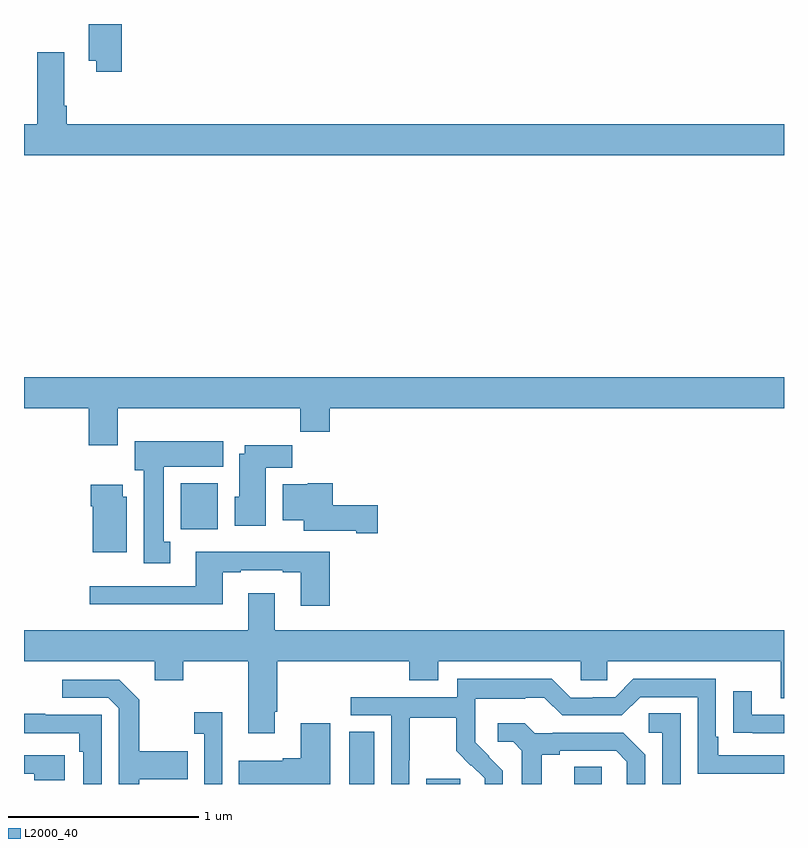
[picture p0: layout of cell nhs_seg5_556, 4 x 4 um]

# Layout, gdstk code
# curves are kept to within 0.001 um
import gdstk
lib = gdstk.Library(unit=1e-6, precision=1e-09)
def R(c, l, rs):  # rectangles x0, y0, x1, y1
    for r in rs: c.add(gdstk.rectangle(r[:2], r[2:], *l))
def P(c, l, *ps):  # polygons
    for p in ps: c.add(gdstk.Polygon(p, *l))
L2000_40 = (2000, 40)

nhs_seg5_556 = lib.new_cell('nhs_seg5_556')
R(nhs_seg5_556, L2000_40, [(148.712,838.799,148.843,839.075), (149.117,838.799,149.296,838.827), (149.897,838.799,150.042,838.889), (147.824,840.14,148.021,840.382)])
P(nhs_seg5_556, L2000_40, [(147.515,842.799),(147.34,842.799),(147.34,842.606),(147.38,842.606),(147.38,842.547),(147.515,842.547)],
  [(151,842.272),(147.224,842.272),(147.224,842.368),(147.211,842.368),(147.211,842.65),(147.071,842.65),(147.071,842.272),(147,842.272),(147,842.108),(151,842.108)],
  [(147.493,840.776),(148.453,840.776),(148.453,840.652),(148.61,840.652),(148.61,840.776),(151,840.776),(151,840.94),(147,840.94),(147,840.776),(147.341,840.776),(147.341,840.582),(147.493,840.582)],
  [(147.769,840.074),(147.736,840.074),(147.736,840.47),(148.048,840.47),(148.048,840.604),(147.584,840.604),(147.584,840.45),(147.629,840.45),(147.629,839.961),(147.769,839.961)],
  [(148.273,840.464),(148.412,840.464),(148.412,840.583),(148.163,840.583),(148.163,840.538),(148.133,840.538),(148.133,840.312),(148.109,840.312),(148.109,840.158),(148.273,840.158)],
  [(148.861,840.266),(148.625,840.266),(148.625,840.382),(148.494,840.382),(148.494,840.376),(148.361,840.376),(148.361,840.188),(148.472,840.188),(148.472,840.131),(148.748,840.131),(148.748,840.119),(148.861,840.119)],
  [(147.541,840.312),(147.52,840.312),(147.52,840.373),(147.35,840.373),(147.35,840.26),(147.362,840.26),(147.362,840.02),(147.541,840.02)],
  [(148.61,840.022),(147.905,840.022),(147.905,839.841),(147.345,839.841),(147.345,839.744),(148.045,839.744),(148.045,839.913),(148.141,839.913),(148.141,839.925),(148.361,839.925),(148.361,839.913),(148.457,839.913),(148.457,839.736),(148.61,839.736)],
  [(148.321,839.803),(148.181,839.803),(148.181,839.608),(147,839.608),(147,839.444),(147.689,839.444),(147.689,839.345),(147.837,839.345),(147.837,839.444),(148.181,839.444),(148.181,839.067),(148.321,839.067),(148.321,839.179),(148.334,839.179),(148.334,839.444),(149.027,839.444),(149.027,839.345),(149.179,839.345),(149.179,839.444),(149.931,839.444),(149.931,839.346),(150.069,839.346),(150.069,839.444),(150.983,839.444),(150.983,839.25),(151,839.25),(151,839.608),(148.321,839.608)],
  [(149.028,838.924),(149.031,838.924),(149.031,839.148),(149.275,839.148),(149.275,838.973),(149.352,838.896),(149.355,838.899),(149.426,838.829),(149.426,838.799),(149.52,838.799),(149.52,838.87),(149.374,839.018),(149.374,839.115),(149.376,839.115),(149.376,839.249),(149.639,839.249),(149.639,839.253),(149.739,839.253),(149.832,839.16),(150.147,839.16),(150.243,839.256),(150.546,839.256),(150.546,838.854),(151,838.854),(151,838.95),(150.655,838.95),(150.655,839.047),(150.642,839.047),(150.642,839.352),(150.207,839.352),(150.111,839.256),(149.993,839.256),(149.993,839.253),(149.877,839.253),(149.777,839.353),(149.28,839.353),(149.28,839.256),(148.719,839.256),(148.719,839.16),(148.932,839.16),(148.932,838.799),(149.028,838.799)],
  [(147.607,838.823),(147.863,838.823),(147.863,838.971),(147.607,838.971),(147.607,839.243),(147.501,839.349),(147.201,839.349),(147.201,839.253),(147.444,839.253),(147.498,839.199),(147.498,838.799),(147.607,838.799)],
  [(151,839.163),(150.829,839.163),(150.829,839.287),(150.733,839.287),(150.733,839.068),(150.835,839.068),(150.835,839.067),(151,839.067)],
  [(148.044,839.176),(147.897,839.176),(147.897,839.063),(147.948,839.063),(147.948,838.799),(148.044,838.799)],
  [(150.456,839.171),(150.288,839.171),(150.288,839.07),(150.36,839.07),(150.36,838.799),(150.456,838.799)],
  [(147.408,839.163),(147.113,839.163),(147.113,839.168),(147.001,839.168),(147.001,839.163),(147,839.163),(147,839.067),(147.292,839.067),(147.292,838.97),(147.312,838.97),(147.312,838.799),(147.408,838.799)],
  [(148.612,839.119),(148.457,839.119),(148.457,838.934),(148.361,838.934),(148.361,838.921),(148.131,838.921),(148.131,838.799),(148.612,838.799)],
  [(149.725,838.952),(149.821,838.952),(149.821,838.974),(150.116,838.974),(150.173,838.917),(150.173,838.799),(150.27,838.799),(150.27,838.954),(150.154,839.07),(149.782,839.07),(149.782,839.067),(149.688,839.067),(149.636,839.119),(149.493,839.119),(149.493,839.022),(149.574,839.022),(149.621,838.975),(149.621,838.799),(149.725,838.799)],
  [(147.214,838.95),(147,838.95),(147,838.854),(147.053,838.854),(147.053,838.82),(147.214,838.82)])

lib.write_gds('nhs_seg5_556.gds')
